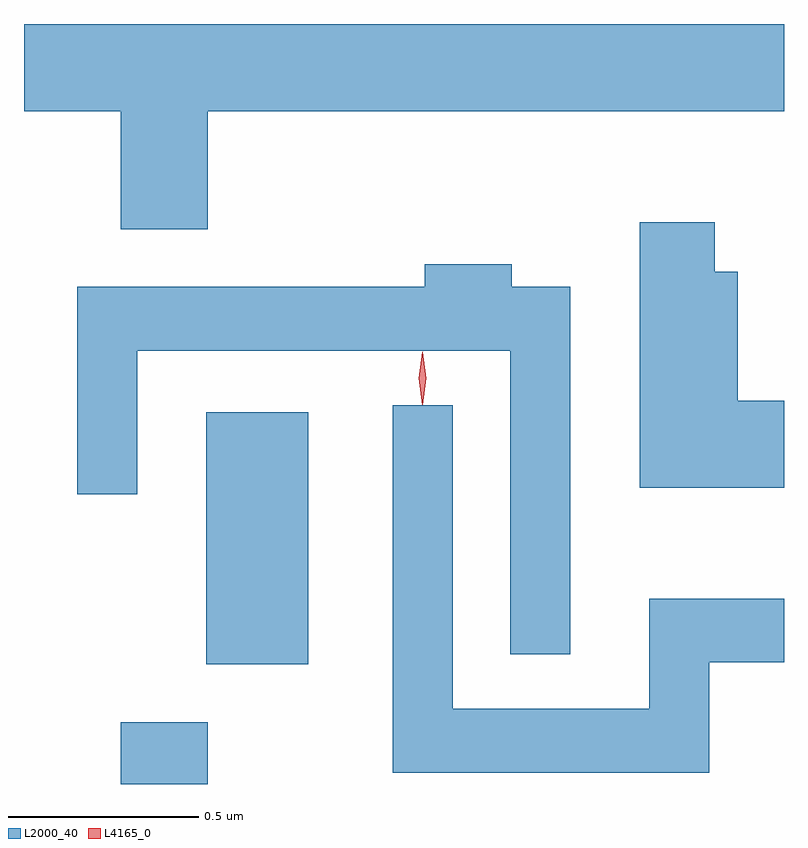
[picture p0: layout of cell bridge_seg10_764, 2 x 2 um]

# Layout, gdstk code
import gdstk
lib = gdstk.Library(unit=1e-6, precision=1e-09)
def R(c, l, rs):  # rectangles x0, y0, x1, y1
    for r in rs: c.add(gdstk.rectangle(r[:2], r[2:], *l))
def P(c, l, *ps):  # polygons
    for p in ps: c.add(gdstk.Polygon(p, *l))
L2000_40 = (2000, 40)
L4165_0 = (4165, 0)

bridge_seg10_764 = lib.new_cell('bridge_seg10_764')
R(bridge_seg10_764, L2000_40, [(996.851,2109.926,997.079,2110.089), (997.076,2110.241,997.344,2110.904)])
P(bridge_seg10_764, L2000_40, [(997.079,2111.696),(998.596,2111.696),(998.596,2111.926),(996.596,2111.926),(996.596,2111.696),(996.851,2111.696),(996.851,2111.386),(997.079,2111.386)],
  [(998.596,2110.934),(998.474,2110.934),(998.474,2111.274),(998.414,2111.274),(998.414,2111.404),(998.216,2111.404),(998.216,2110.706),(998.596,2110.706)],
  [(998.034,2111.234),(997.879,2111.234),(997.879,2111.294),(997.651,2111.294),(997.651,2111.234),(996.736,2111.234),(996.736,2110.688),(996.894,2110.688),(996.894,2111.066),(997.876,2111.066),(997.876,2110.268),(998.034,2110.268)],
  [(998.399,2110.246),(998.596,2110.246),(998.596,2110.414),(998.241,2110.414),(998.241,2110.124),(997.724,2110.124),(997.724,2110.923),(997.566,2110.923),(997.566,2109.956),(998.399,2109.956)])
P(bridge_seg10_764, L4165_0, [(997.645,2110.927),(997.644,2110.928),(997.635,2110.994),(997.644,2111.06),(997.645,2111.06),(997.645,2111.06),(997.655,2110.994),(997.645,2110.928)],
  [(997.644,2110.924),(997.635,2110.994),(997.644,2111.062),(997.645,2111.063),(997.645,2111.062),(997.655,2110.994),(997.645,2110.924),(997.645,2110.924)])

lib.write_gds('bridge_seg10_764.gds')
